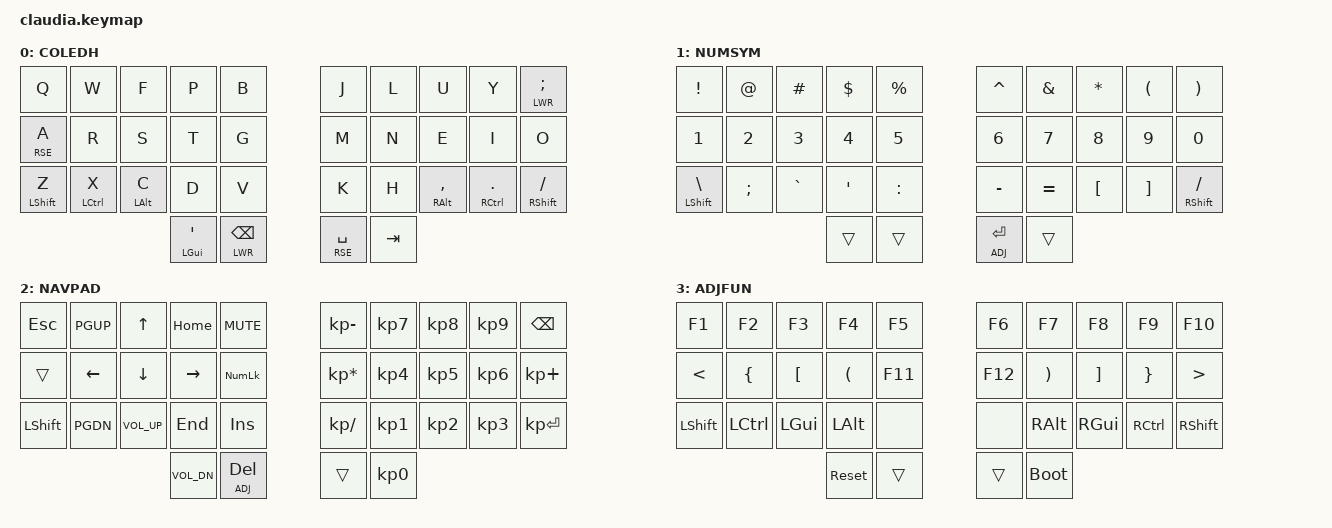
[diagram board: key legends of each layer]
#include <behaviors.dtsi>
#include <dt-bindings/zmk/keys.h>

#define DEF 0
#define LWR 1
#define RSE 2
#define ADJ 3

// Using layer taps on thumbs, having quick tap as well helps w/ repeating space/backspace
&lt { quick_tap_ms = <200>; };

/ {
  behaviors {
        hm: homerow_mods {
            compatible = "zmk,behavior-hold-tap";
            label = "homerow mods";
            #binding-cells = <2>;
            tapping-term-ms = <200>;
            flavor = "tap-preferred";
            bindings = <&kp>, <&kp>;
        };
  };

  chosen {
    zmk,matrix_transform = &default_transform;
  };
};

/ {
        keymap {
                compatible = "zmk,keymap";

                default_layer {
                        label = "COLEDH";
// -----------------------------------------------------------------------------------------
// |  Q  |  W  |  F  |  P  |  B  |    |  J  |  L  |  U  |  Y  |LOW-;|
// |RSE-A|  R  |  S  |  T  |  G  |    |  M  |  N  |  E  |  I  |  O  |
//     |SFT-Z|CTL-X|ALT-C|  D  |  V  |  K  |  H  |ALT-,|CTL-.|
//                   |GUI-'| LOW-BS||RSE-SP | TAB |
                        bindings = <
    &kp Q          &kp W          &kp F          &kp P          &kp B          &kp J          &kp L          &kp U          &kp Y          &hm LWR SEMI
    &hm RSE A      &kp R          &kp S          &kp T          &kp G          &kp M          &kp N          &kp E          &kp I          &kp O
    &hm LSHFT Z    &hm LCTRL X    &hm LALT C     &kp D          &kp V          &kp K          &kp H          &hm RALT COMMA &hm RCTRL DOT  &hm RSHFT FSLH
                                                 &hm LGUI SQT   &lt LWR BSPC   &lt RSE SPACE  &kp TAB
                        >;
                };

                lower_layer {
                        label = "NUMSYM";
// -----------------------------------------------------------------------------------------
// |  !  |  @  |  #  |  $  |  %  |    |  ^  |  &  |  *  |  (  |  )  |
// |  1  |  2  |  3  |  4  |  5  |    |  6  |  7  |  8  |  9  |  0  |
//     |SFT-\| ; : | ` ~ | ' " |  /  |    | - _ | = + | [ { | ] } |
//                   | SHFT| trans ||ADJ-ENT|     |
                        bindings = <
    &kp EXCL       &kp AT         &kp HASH       &kp DLLR       &kp PRCNT      &kp CARET      &kp AMPS       &kp STAR       &kp LPAR       &kp RPAR
    &kp N1         &kp N2         &kp N3         &kp N4         &kp N5         &kp N6         &kp N7         &kp N8         &kp N9         &kp N0
    &hm LSHFT BSLH &kp SEMI       &kp GRAVE      &kp SQT        &kp COLON      &kp MINUS      &kp EQUAL      &kp LBKT       &kp RBKT &hm RSHFT FSLH
                                                 &trans         &trans         &lt ADJ RET    &trans
                        >;
                };

                raise_layer {
                        label = "NAVPAD";
// -----------------------------------------------------------------------------------------
// | ESC | PGUP|  UP | HOME| MUTE|    | KP- | KP7 | KP8 | KP9 | BKSP|
// |     | LEFT| DOWN|RIGHT|NUMLK|    | KP* | KP4 | KP5 | KP6 | KP_+|
//     |SHIFT| PGDN|VOL_+| END | INS |    | KP/ | KP1 | KP2 | KP3 |
//                   |VOL_-||ADJ-DEL||       | KP0 |
                        bindings = <
    &kp ESC        &kp PGUP       &kp UP         &kp HOME       &kp C_MUTE     &kp KP_MINUS    &kp KP_N7     &kp KP_N8      &kp KP_N9      &kp BSPC
    &trans         &kp LEFT       &kp DOWN       &kp RIGHT      &kp KP_NUM     &kp KP_ASTERISK &kp KP_N4     &kp KP_N5      &kp KP_N6      &kp KP_PLUS
    &kp LSHFT      &kp PGDN       &kp C_VOL_UP   &kp END        &kp INS        &kp KP_DIVIDE   &kp KP_N1     &kp KP_N2      &kp KP_N3      &kp KP_ENTER
                    	                         &kp C_VOL_DN   &lt ADJ DEL    &trans          &kp KP_N0
                        >;
                };

                adjust_layer {
                        label = "ADJFUN";
// -----------------------------------------------------------------------------------------
// | F1  | F2  | F3  | F4  | F5  |    | F6  | F7  | F8  | F9  | F10 |
// |  <  |  {  |  [  |  (  | F11 |    | F12 |  )  |  ]  |  }  |  >  |
//     | SHFT| CTRL| GUI | ALT | none|    | none| ALT | CTRL| SHFT|
//             | RESET |       ||       |  |
                        bindings = <
    &kp F1         &kp F2         &kp F3         &kp F4         &kp F5         &kp F6         &kp F7         &kp F8         &kp F9         &kp F10
    &kp LT         &kp LBRC       &kp LBKT       &kp LPAR       &kp F11        &kp F12        &kp RPAR       &kp RBKT       &kp RBRC       &kp GT
    &kp LSHFT      &kp LCTRL      &kp LGUI       &kp LALT       &none          &none          &kp RALT       &kp RGUI       &kp RCTRL      &kp RSHFT
                                                 &sys_reset     &trans         &trans         &bootloader
                        >;
                };
        };
};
